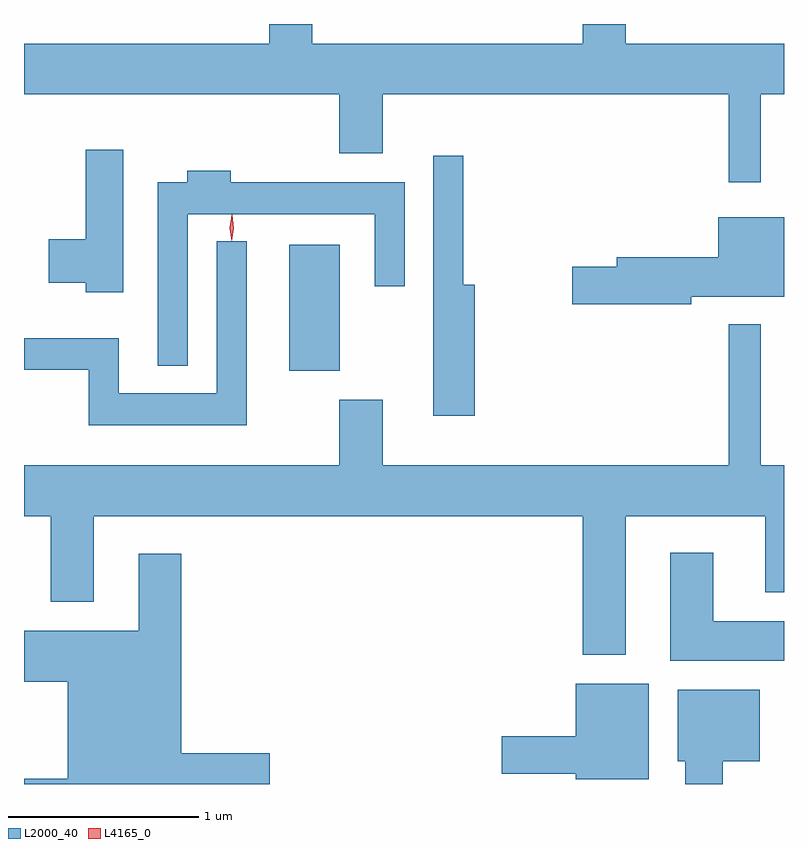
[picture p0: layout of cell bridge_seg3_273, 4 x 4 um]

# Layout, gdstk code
import gdstk
lib = gdstk.Library(unit=1e-6, precision=1e-09)
def R(c, l, rs):  # rectangles x0, y0, x1, y1
    for r in rs: c.add(gdstk.rectangle(r[:2], r[2:], *l))
def P(c, l, *ps):  # polygons
    for p in ps: c.add(gdstk.Polygon(p, *l))
L2000_40 = (2000, 40)
L4165_0 = (4165, 0)

bridge_seg3_273 = lib.new_cell('bridge_seg3_273')
R(bridge_seg3_273, L2000_40, [(1078.096,1142.321,1078.364,1142.984)])
P(bridge_seg3_273, L2000_40, [(1080.579,1143.776),(1080.701,1143.776),(1080.701,1144.044),(1079.869,1144.044),(1079.869,1144.147),(1079.641,1144.147),(1079.641,1144.044),(1078.219,1144.044),(1078.219,1144.147),(1077.991,1144.147),(1077.991,1144.044),(1076.701,1144.044),(1076.701,1143.776),(1078.361,1143.776),(1078.361,1143.466),(1078.589,1143.466),(1078.589,1143.776),(1080.411,1143.776),(1080.411,1143.313),(1080.579,1143.313)],
  [(1077.224,1143.484),(1077.026,1143.484),(1077.026,1143.014),(1076.831,1143.014),(1076.831,1142.786),(1077.026,1142.786),(1077.026,1142.736),(1077.224,1142.736)],
  [(1079.074,1142.774),(1079.014,1142.774),(1079.014,1143.453),(1078.856,1143.453),(1078.856,1142.086),(1079.074,1142.086)],
  [(1077.564,1143.146),(1078.546,1143.146),(1078.546,1142.768),(1078.704,1142.768),(1078.704,1143.314),(1077.789,1143.314),(1077.789,1143.374),(1077.561,1143.374),(1077.561,1143.314),(1077.406,1143.314),(1077.406,1142.348),(1077.564,1142.348)],
  [(1080.214,1142.711),(1080.701,1142.711),(1080.701,1143.129),(1080.356,1143.129),(1080.356,1142.919),(1079.821,1142.919),(1079.821,1142.869),(1079.586,1142.869),(1079.586,1142.671),(1080.214,1142.671)],
  [(1077.874,1143.003),(1077.716,1143.003),(1077.716,1142.204),(1077.199,1142.204),(1077.199,1142.494),(1076.701,1142.494),(1076.701,1142.326),(1077.041,1142.326),(1077.041,1142.036),(1077.874,1142.036)],
  [(1079.869,1141.556),(1080.601,1141.556),(1080.601,1141.156),(1080.701,1141.156),(1080.701,1141.824),(1080.579,1141.824),(1080.579,1142.568),(1080.411,1142.568),(1080.411,1141.824),(1078.589,1141.824),(1078.589,1142.169),(1078.361,1142.169),(1078.361,1141.824),(1076.701,1141.824),(1076.701,1141.556),(1076.841,1141.556),(1076.841,1141.106),(1077.069,1141.106),(1077.069,1141.556),(1079.641,1141.556),(1079.641,1140.826),(1079.869,1140.826)],
  [(1080.701,1141.004),(1080.329,1141.004),(1080.329,1141.364),(1080.101,1141.364),(1080.101,1140.796),(1080.701,1140.796)],
  [(1077.994,1140.309),(1077.529,1140.309),(1077.529,1141.359),(1077.306,1141.359),(1077.306,1140.954),(1076.701,1140.954),(1076.701,1140.686),(1076.931,1140.686),(1076.931,1140.174),(1076.701,1140.174),(1076.701,1140.147),(1077.994,1140.147)],
  [(1079.989,1140.674),(1079.606,1140.674),(1079.606,1140.399),(1079.216,1140.399),(1079.216,1140.201),(1079.606,1140.201),(1079.606,1140.171),(1079.989,1140.171)],
  [(1080.379,1140.266),(1080.574,1140.266),(1080.574,1140.644),(1080.141,1140.644),(1080.141,1140.266),(1080.181,1140.266),(1080.181,1140.147),(1080.379,1140.147)])
P(bridge_seg3_273, L4165_0, [(1077.794,1143.007),(1077.785,1143.074),(1077.794,1143.14),(1077.795,1143.141),(1077.795,1143.14),(1077.805,1143.074),(1077.795,1143.007),(1077.795,1143.007)],
  [(1077.794,1143.004),(1077.785,1143.073),(1077.795,1143.142),(1077.795,1143.143),(1077.796,1143.142),(1077.805,1143.073),(1077.795,1143.004),(1077.795,1143.004)])

lib.write_gds('bridge_seg3_273.gds')
